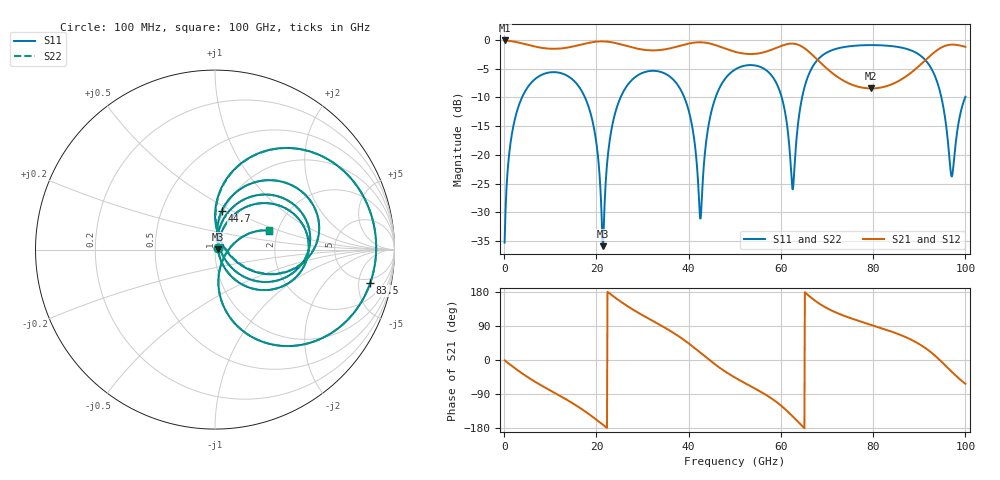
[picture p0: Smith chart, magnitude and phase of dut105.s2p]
! Touchstone file exported from HFSS 2026.1.0
!  File:  C:/ffzhzh/LocalFiles/Ansys_Project_Files/temp_train_TSV_RDL_105_1783633903_29156.aedt
!  Generated:  05:59:15 AM Jul 10, 2026
!  Design:  TSV_RDL
!  Project:  temp_train_TSV_RDL_105_1783633903_29156
! Variables:
!  h_bsmrdl = 3.09um
!  h_ox = 20um
!  h_rdl = 5um
!  h_sub = 76.05um
!  h_tmrdl = 2.28um
!  h_tsv = 76.05um
!  h_via = 3um
!  l_bsmrdl = 132.64um
!  l_sub = 2603.44um
!  l_tmrdl = 417.18um
!  m_sub = 200um
!  pitch = 59.65um
!  r_tsv = 12.97um
!  s_tmrdl = 10um
!  w_bsmrdl = 21.56um
!  w_sub = 500um
!  w_tmrdl = 24.04um
!  x_tsv_center1 = 429.2um
!  x_tsv_center2 = 583.4um
!  x_tsv_center3 = 1024.62um
!  x_tsv_center4 = 1178.82um
!  x_tsv_center5 = 1620.04um
!  x_tsv_center6 = 1774.24um
# GHz S MA R 50.000000
! Terminal data exported
! Port[1] = TM_RDL1_1_T1
! Port[2] = TM_RDL5_1_T1
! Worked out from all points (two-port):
!   1000 points, 100 MHz to 100 GHz, reference 50 ohm
!   highest |S21| = -0.12 dB at 100 MHz (marker M1); lowest = -8.5 dB at 79.6 GHz (marker M2)
!   |S21| within 3 dB of the highest: start of sweep to 67.47 GHz; 91.91 GHz to end of sweep
!   lowest |S11| = -35.9 dB at 21.4 GHz (marker M3), VSWR 1.03, Z = 51.6 + j0.188 ohm
!   |S11| at or under -10 dB: 17.51 GHz to 25.26 GHz (7.745 GHz wide, 36.2 % of centre); 39.05 GHz to 45.84 GHz (6.794 GHz wide, 16 % of centre); 94.79 GHz to 99.96 GHz (5.174 GHz wide, 5.31 % of centre) (the widest 3 of 5)
!   |S22| runs from -35.6 to -0.9 dB; largest |S21 - S12| = 2.1e-14
!   S11 on the Smith chart (normalised r, x): 100 MHz: 1.03, +0.02; 44.7 GHz: 0.98, +0.44; 83.5 GHz: 4.12, -7.05; 100 GHz: 1.80, +0.42
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0.1  0.01723 34.3  0.9859 -1.0  0.9859 -1.0  0.01723 34.3
! Gamma 0 0 0 0
! Port Impedance 50 0 50 0
1.6  0.1449 67.6  0.9712 -15.1  0.9712 -15.1  0.1449 67.6
4.6  0.3592 45.9  0.9143 -41.2  0.9143 -41.2  0.3592 45.9
10.8  0.5229 2.9  0.8343 -85.8  0.8343 -85.8  0.5229 2.9
16.8  0.3595 -38.9  0.9099 -129.4  0.9099 -129.4  0.3595 -38.8
19.6  0.1601 -59.7  0.9584 -153.8  0.9584 -153.8  0.1602 -59.5
21.4  0.01605 6.5  0.9677 -170.7  0.9677 -170.7  0.01657 6.6
24.9  0.292 63.4  0.9205 157.3  0.9205 157.3  0.2921 63.3
33.4  0.5316 4.8  0.8116 95.2  0.8116 95.2  0.5318 4.8
39.6  0.275 -38.6  0.9181 47.5  0.9181 47.5  0.2752 -38.7
42.5  0.0279 8.8  0.9507 19.7  0.9507 19.7  0.0274 8.2
44.7  0.2165 80.2  0.9252 -2.0  0.9252 -2.0  0.2162 80.4
50.1  0.5522 41.3  0.7854 -46.8  0.7854 -46.8  0.552 41.4
58.8  0.4363 -15.5  0.8432 -108.6  0.8432 -108.6  0.4363 -15.1
62.5  0.0503 20.2  0.9257 -148.2  0.9257 -148.2  0.05339 21.0
66.7  0.5668 67.7  0.7468 163.1  0.7468 163.1  0.567 67.5
79.6  0.8983 2.4  0.3772 92.6  0.3772 92.6  0.8983 2.4
83.4  0.8855 -11.7  0.401 77.6  0.401 77.6  0.8855 -11.7
83.5  0.8848 -12.1  0.4023 77.1  0.4023 77.1  0.8847 -12.1
92.9  0.5351 -66.5  0.7564 16.7  0.7564 16.7  0.5349 -66.5
97  0.06474 -33.0  0.907 -30.6  0.907 -30.6  0.06386 -32.9
100  0.3191 19.3  0.8682 -62.9  0.8682 -62.9  0.3189 19.5
